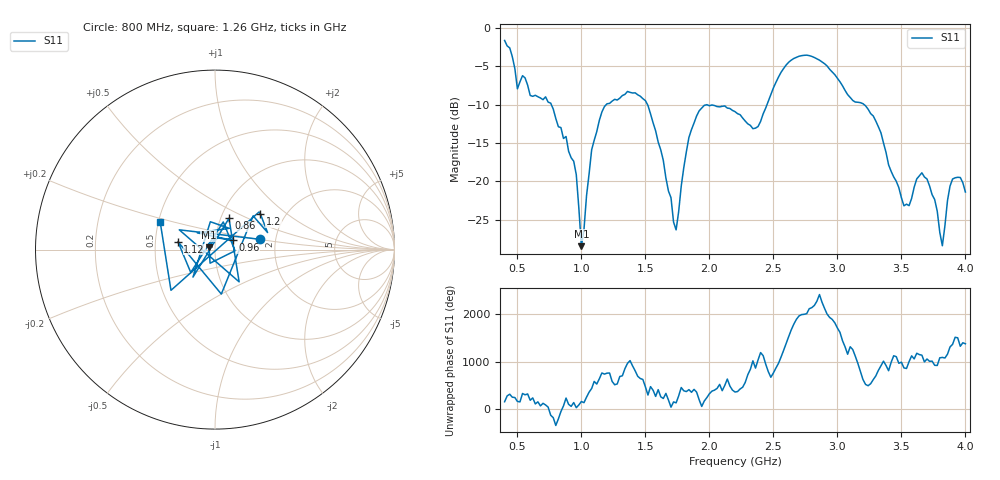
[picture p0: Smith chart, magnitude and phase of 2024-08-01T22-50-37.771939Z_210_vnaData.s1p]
!Created with skrf (http://scikit-rf.org).
# Hz S RI R 50.0
!freq ReS11 ImS11
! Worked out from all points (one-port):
!   181 points, 400 MHz to 4 GHz, reference 50 ohm
!   lowest |S11| = -28.4 dB at 1 GHz (marker M1), VSWR 1.08, Z = 46.6 + j1.27 ohm
!   |S11| at or under -10 dB: 1.517 GHz to 1.977 GHz (459.4 MHz wide, 26.3 % of centre); 1.982 GHz to 2.45 GHz (467.5 MHz wide, 21.1 % of centre); 3.21 GHz to end of sweep (the widest 3 of 4)
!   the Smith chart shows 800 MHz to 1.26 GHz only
!   S11 on the Smith chart (normalised r, x): 800 MHz: 1.65, +0.20; 860 MHz: 1.09, +0.40; 960 MHz: 1.21, +0.13; 1.12 GHz: 0.66, +0.06; 1.2 GHz: 1.50, +0.66; 1.26 GHz: 0.51, +0.18
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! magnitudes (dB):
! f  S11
! 400 MHz  -1.6
! 500 MHz  -7.9
! 540 MHz  -6.2
! 800 MHz  -11.8
! 860 MHz  -14.4
! 960 MHz  -19.1
! 1 GHz  -28.4
! 1.08 GHz  -15.9
! 1.12 GHz  -13.5
! 1.2 GHz  -9.9
! 1.26 GHz  -9.3
! 1.3 GHz  -9.1
! 1.52 GHz  -10.1
! 1.72 GHz  -25.3
! 1.76 GHz  -23.9
! 1.84 GHz  -14.3
! 1.92 GHz  -10.8
! 2.2 GHz  -10.9
! 2.38 GHz  -12.8
! 2.66 GHz  -4.0
! 3.1 GHz  -9.0
! 3.28 GHz  -11.5
! 3.56 GHz  -23.2
! 3.66 GHz  -18.9
! 3.76 GHz  -22.4
! 3.82 GHz  -28.4
! 3.9 GHz  -19.7
! 4 GHz  -21.4
